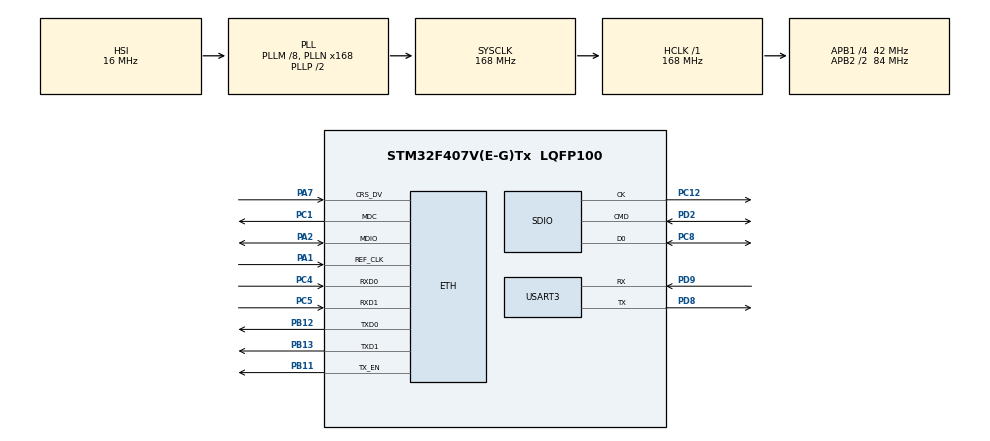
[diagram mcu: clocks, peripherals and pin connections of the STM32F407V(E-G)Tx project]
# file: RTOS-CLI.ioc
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Dma.Request0=SDIO_RX
Dma.Request1=SDIO_TX
Dma.Request2=USART3_RX
Dma.Request3=USART3_TX
Dma.SDIO_RX.0.Direction=DMA_PERIPH_TO_MEMORY
Dma.SDIO_RX.0.FIFOMode=DMA_FIFOMODE_ENABLE
Dma.SDIO_RX.0.FIFOThreshold=DMA_FIFO_THRESHOLD_FULL
Dma.SDIO_RX.0.Instance=DMA2_Stream3
Dma.SDIO_RX.0.MemBurst=DMA_MBURST_INC4
Dma.SDIO_RX.0.MemDataAlignment=DMA_MDATAALIGN_WORD
Dma.SDIO_RX.0.MemInc=DMA_MINC_ENABLE
Dma.SDIO_RX.0.Mode=DMA_PFCTRL
Dma.SDIO_RX.0.PeriphBurst=DMA_PBURST_INC4
Dma.SDIO_RX.0.PeriphDataAlignment=DMA_PDATAALIGN_WORD
Dma.SDIO_RX.0.PeriphInc=DMA_PINC_DISABLE
Dma.SDIO_RX.0.Priority=DMA_PRIORITY_VERY_HIGH
Dma.SDIO_TX.1.Direction=DMA_MEMORY_TO_PERIPH
Dma.SDIO_TX.1.FIFOMode=DMA_FIFOMODE_ENABLE
Dma.SDIO_TX.1.FIFOThreshold=DMA_FIFO_THRESHOLD_FULL
Dma.SDIO_TX.1.Instance=DMA2_Stream6
Dma.SDIO_TX.1.MemBurst=DMA_MBURST_INC4
Dma.SDIO_TX.1.MemDataAlignment=DMA_MDATAALIGN_WORD
Dma.SDIO_TX.1.MemInc=DMA_MINC_ENABLE
Dma.SDIO_TX.1.Mode=DMA_PFCTRL
Dma.SDIO_TX.1.PeriphBurst=DMA_PBURST_INC4
Dma.SDIO_TX.1.PeriphDataAlignment=DMA_PDATAALIGN_WORD
Dma.SDIO_TX.1.PeriphInc=DMA_PINC_DISABLE
Dma.SDIO_TX.1.Priority=DMA_PRIORITY_LOW
Dma.USART3_RX.2.Direction=DMA_PERIPH_TO_MEMORY
Dma.USART3_RX.2.FIFOMode=DMA_FIFOMODE_DISABLE
Dma.USART3_RX.2.Instance=DMA1_Stream1
Dma.USART3_RX.2.MemDataAlignment=DMA_MDATAALIGN_BYTE
Dma.USART3_RX.2.MemInc=DMA_MINC_ENABLE
Dma.USART3_RX.2.Mode=DMA_NORMAL
Dma.USART3_RX.2.PeriphDataAlignment=DMA_PDATAALIGN_BYTE
Dma.USART3_RX.2.PeriphInc=DMA_PINC_DISABLE
Dma.USART3_RX.2.Priority=DMA_PRIORITY_LOW
Dma.USART3_TX.3.Direction=DMA_MEMORY_TO_PERIPH
Dma.USART3_TX.3.FIFOMode=DMA_FIFOMODE_DISABLE
Dma.USART3_TX.3.Instance=DMA1_Stream3
Dma.USART3_TX.3.MemDataAlignment=DMA_MDATAALIGN_BYTE
Dma.USART3_TX.3.MemInc=DMA_MINC_ENABLE
Dma.USART3_TX.3.Mode=DMA_NORMAL
Dma.USART3_TX.3.PeriphDataAlignment=DMA_PDATAALIGN_BYTE
Dma.USART3_TX.3.PeriphInc=DMA_PINC_DISABLE
Dma.USART3_TX.3.Priority=DMA_PRIORITY_LOW
ETH.MediaInterface=HAL_ETH_RMII_MODE
ETH.RxMode=ETH_RXINTERRUPT_MODE
FATFS._USE_LFN=3
FREERTOS.BinarySemaphores01=connectSem,Dynamic,NULL,Depleted;uartConfigSem,Dynamic,NULL,Depleted;fsSem,Dynamic,NULL,Depleted;printSem,Dynamic,NULL,Depleted
FREERTOS.Mutexes01=printMux,Dynamic,NULL,Available
FREERTOS.Queues01=structFSQueue,16,fatfs_struct_t,0,Static,structFSQueuBuffer,structFSQueuControlBlock
FREERTOS.Tasks01=vInitTask,40,512,vStartInitTask,Default,NULL,Static,vInitTaskBuffer,vInitTaskControlBlock;vCmdTask,32,1024,vStartCmdTask,Default,NULL,Static,vCmdTaskBuffer,vCmdTaskControlBlock;vClientTask,24,2048,vStartClientTask,Default,NULL,Static,vClientTaskBuffer,vClientTaskControlBlock;vFatFSTask,24,1024,vStartFatFSTask,Default,NULL,Static,vFatFSTaskBuffer,vFatFSTaskControlBlock
FREERTOS.configGENERATE_RUN_TIME_STATS=1
FREERTOS.configMINIMAL_STACK_SIZE=512
FREERTOS.configTOTAL_HEAP_SIZE=16000
FREERTOS.configUSE_IDLE_HOOK=0
FREERTOS.configUSE_MALLOC_FAILED_HOOK=0
FREERTOS.configUSE_NEWLIB_REENTRANT=1
FREERTOS.configUSE_STATS_FORMATTING_FUNCTIONS=1
FREERTOS.configUSE_TICK_HOOK=0
LWIP.BSP.number=1
LWIP.DEFAULT_THREAD_PRIO=0
LWIP.GATEWAY_ADDRESS=192.168.000.001
LWIP.IP_ADDRESS=192.168.000.025
LWIP.LWIP_DHCP=1
LWIP.LWIP_DNS=1
LWIP.NETMASK_ADDRESS=255.255.255.000
LWIP.TCPIP_THREAD_PRIO=1
LWIP.TCP_WND=5840
LWIP.Version=v2.1.2_Cube
LWIP0.BSP.STBoard=false
LWIP0.BSP.api=BSP_COMPONENT_DRIVER
LWIP0.BSP.component=DP83848
LWIP0.BSP.instance=DP83848
LWIP0.BSP.name=Driver_PHY
LWIP0.BSP.semaphore=S_DP83848
LWIP0.BSP.solution=DP83848
Mcu.Family=STM32F4
Mcu.Name=STM32F407V(E-G)Tx
Mcu.Package=LQFP100
NVIC.DMA1_Stream1_IRQn=true\:5\:0\:false\:false\:true\:true\:false\:true\:true
NVIC.DMA1_Stream3_IRQn=true\:5\:0\:false\:false\:true\:true\:false\:true\:true
NVIC.DMA2_Stream3_IRQn=true\:5\:0\:false\:false\:true\:true\:false\:true\:true
NVIC.DMA2_Stream6_IRQn=true\:5\:0\:false\:false\:true\:true\:false\:true\:true
NVIC.ETH_IRQn=true\:5\:0\:false\:false\:true\:true\:false\:true\:true
NVIC.ETH_WKUP_IRQn=true\:5\:0\:false\:false\:true\:true\:true\:true\:true
NVIC.HASH_RNG_IRQn=true\:5\:0\:false\:false\:true\:true\:true\:true\:true
NVIC.PriorityGroup=NVIC_PRIORITYGROUP_4
NVIC.RCC_IRQn=true\:5\:0\:false\:false\:true\:true\:true\:false\:true
NVIC.SDIO_IRQn=true\:5\:0\:false\:false\:true\:true\:true\:true\:true
NVIC.TIM1_UP_TIM10_IRQn=true\:15\:0\:false\:false\:true\:false\:false\:true\:true
NVIC.TIM5_IRQn=true\:5\:0\:false\:false\:true\:true\:true\:true\:true
NVIC.TimeBase=TIM1_UP_TIM10_IRQn
NVIC.TimeBaseIP=TIM1
NVIC.USART3_IRQn=true\:5\:0\:false\:false\:true\:true\:true\:true\:true
PA1.Mode=RMII
PA1.Signal=ETH_REF_CLK
PA13.Mode=Serial_Wire
PA13.Signal=SYS_JTMS-SWDIO
PA14.Mode=Serial_Wire
PA14.Signal=SYS_JTCK-SWCLK
PA2.Mode=RMII
PA2.Signal=ETH_MDIO
PA7.Mode=RMII
PA7.Signal=ETH_CRS_DV
PB11.Mode=RMII
PB11.Signal=ETH_TX_EN
PB12.Mode=RMII
PB12.Signal=ETH_TXD0
PB13.Mode=RMII
PB13.Signal=ETH_TXD1
PC1.Mode=RMII
PC1.Signal=ETH_MDC
PC12.Mode=SD_1_bit
PC12.Signal=SDIO_CK
PC4.Mode=RMII
PC4.Signal=ETH_RXD0
PC5.Mode=RMII
PC5.Signal=ETH_RXD1
PC8.Mode=SD_1_bit
PC8.Signal=SDIO_D0
PD2.Mode=SD_1_bit
PD2.Signal=SDIO_CMD
PD8.Mode=Asynchronous
PD8.Signal=USART3_TX
PD9.Mode=Asynchronous
PD9.Signal=USART3_RX
PH0-OSC_IN.Mode=HSE-External-Oscillator
PH0-OSC_IN.Signal=RCC_OSC_IN
PH1-OSC_OUT.Mode=HSE-External-Oscillator
PH1-OSC_OUT.Signal=RCC_OSC_OUT
ProjectManager.HeapSize=0x2000
ProjectManager.StackSize=0x1000
ProjectManager.TargetToolchain=STM32CubeIDE
RCC.48MHZClocksFreq_Value=48000000
RCC.AHBFreq_Value=168000000
RCC.APB1CLKDivider=RCC_HCLK_DIV4
RCC.APB1Freq_Value=42000000
RCC.APB1TimFreq_Value=84000000
RCC.APB2CLKDivider=RCC_HCLK_DIV2
RCC.APB2Freq_Value=84000000
RCC.APB2TimFreq_Value=168000000
RCC.CortexFreq_Value=168000000
RCC.HCLKFreq_Value=168000000
RCC.HSE_VALUE=25000000
RCC.HSI_VALUE=16000000
RCC.LSE_VALUE=32768
RCC.PLLM=8
RCC.PLLN=168
RCC.PLLQ=7
RCC.SYSCLKFreq_VALUE=168000000
RCC.SYSCLKSource=RCC_SYSCLKSOURCE_PLLCLK
RCC.VCOOutputFreq_Value=336000000
TIM5.Prescaler=599
USART3.Parity=PARITY_NONE
USART3.VirtualMode=VM_ASYNC
VP_FATFS_VS_SDIO.Mode=SDIO
VP_FREERTOS_VS_CMSIS_V2.Mode=CMSIS_V2
VP_LWIP_VS_Enabled.Mode=Enabled
VP_RNG_VS_RNG.Mode=RNG_Activate
VP_SYS_VS_tim1.Mode=TIM1
VP_TIM5_VS_ClockSourceINT.Mode=Internal
VP_wolfSSL.I-CUBE-wolfSSH_VS_wolfSSHJjwolfSSH_1.4.17_1.4.17.Mode=wolfSSHJjwolfSSH
VP_wolfSSL.I-CUBE-wolfSSL_VS_wolfSSLJjwolfSSL_5.7.4_5.7.4.Mode=wolfSSLJjwolfSSL
board=custom
wolfSSL.I-CUBE-wolfSSH.1.4.17.WOLFSSH_CONF_IO=2
wolfSSL.I-CUBE-wolfSSH.1.4.17.wolfSSHCcwolfSSHJjwolfSSHJjCore=true
wolfSSL.I-CUBE-wolfSSH.1.4.17.wolfSSHCcwolfSSHJjwolfSSHJjTest=true
wolfSSL.I-CUBE-wolfSSL.5.7.4.WOLF_CONF_AESCBC=1
wolfSSL.I-CUBE-wolfSSL.5.7.4.WOLF_CONF_BASE64_ENCODE=1
wolfSSL.I-CUBE-wolfSSL.5.7.4.WOLF_CONF_DEBUG=1
wolfSSL.I-CUBE-wolfSSL.5.7.4.WOLF_CONF_IO=2
wolfSSL.I-CUBE-wolfSSL.5.7.4.WOLF_CONF_KEEP_PEER_CERT=1
wolfSSL.I-CUBE-wolfSSL.5.7.4.WOLF_CONF_OPENSSL_EXTRA=0
wolfSSL.I-CUBE-wolfSSL.5.7.4.WOLF_CONF_PSK=1
wolfSSL.I-CUBE-wolfSSL.5.7.4.WOLF_CONF_RESUMPTION=1
wolfSSL.I-CUBE-wolfSSL.5.7.4.WOLF_CONF_RTOS=2
wolfSSL.I-CUBE-wolfSSL.5.7.4.WOLF_CONF_SHA2_384=1
wolfSSL.I-CUBE-wolfSSL.5.7.4.WOLF_CONF_TEST=0
wolfSSL.I-CUBE-wolfSSL.5.7.4.WOLF_CONF_TLS13=0
wolfSSL.I-CUBE-wolfSSL.5.7.4.wolfSSLCcwolfSSLJjwolfCryptJjCore=true
wolfSSL.I-CUBE-wolfSSL.5.7.4.wolfSSLCcwolfSSLJjwolfCryptJjTest=true
wolfSSL.I-CUBE-wolfSSL.5.7.4.wolfSSLCcwolfSSLJjwolfSSLJjCore=true

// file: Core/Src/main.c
/* USER CODE BEGIN Header */
/**
  ******************************************************************************
  * @file           : main.c
  * @brief          : Main program body
  ******************************************************************************
  * @attention
  *
  * Copyright (c) 2025 STMicroelectronics.
  * All rights reserved.
  *
  * This software is licensed under terms that can be found in the LICENSE file
  * in the root directory of this software component.
  * If no LICENSE file comes with this software, it is provided AS-IS.
  *
  ******************************************************************************
  */
/* USER CODE END Header */
#include "main.h"
#include "cmsis_os.h"
#include "dma.h"
#include "fatfs.h"
#include "lwip.h"
#include "rng.h"
#include "sdio.h"
#include "tim.h"
#include "usart.h"
#include "gpio.h"

/* USER CODE BEGIN Includes */
#include "socket.h"
#include "semphr.h"
//#include "printf_uart.h"
/* USER CODE END Includes */

void SystemClock_Config(void);
void MX_FREERTOS_Init(void);

int main(void)
{

  /* MCU Configuration--------------------------------------------------------*/

  /* Reset of all peripherals, Initializes the Flash interface and the Systick. */
  HAL_Init();

  /* Configure the system clock */
  SystemClock_Config();

  /* Initialize all configured peripherals */
  MX_GPIO_Init();
  MX_DMA_Init();
  MX_TIM5_Init();
  MX_RNG_Init();
  MX_USART3_UART_Init();
  MX_SDIO_SD_Init();
  MX_FATFS_Init();
  /* USER CODE BEGIN 2 */
// HAL_UART_Transmit(&huart3, (uint8_t *)"Start\n\r", sizeof("Start\n\r"), 0xffff);
  HAL_UART_Receive_IT(&huart3, pcRxedChar, 1);
  /* USER CODE END 2 */

  /* Init scheduler */
  osKernelInitialize();

  /* Call init function for freertos objects (in cmsis_os2.c) */
  MX_FREERTOS_Init();

  /* Start scheduler */
  osKernelStart();

  /* We should never get here as control is now taken by the scheduler */

  /* Infinite loop */
  while (1)
  {

  }
}

void SystemClock_Config(void)
{
  RCC_OscInitTypeDef RCC_OscInitStruct = {0};
  RCC_ClkInitTypeDef RCC_ClkInitStruct = {0};

  /** Configure the main internal regulator output voltage
  */
  __HAL_RCC_PWR_CLK_ENABLE();
  __HAL_PWR_VOLTAGESCALING_CONFIG(PWR_REGULATOR_VOLTAGE_SCALE1);

  /** Initializes the RCC Oscillators according to the specified parameters
  * in the RCC_OscInitTypeDef structure.
  */
  RCC_OscInitStruct.OscillatorType = RCC_OSCILLATORTYPE_HSI;
  RCC_OscInitStruct.HSIState = RCC_HSI_ON;
  RCC_OscInitStruct.HSICalibrationValue = RCC_HSICALIBRATION_DEFAULT;
  RCC_OscInitStruct.PLL.PLLState = RCC_PLL_ON;
  RCC_OscInitStruct.PLL.PLLSource = RCC_PLLSOURCE_HSI;
  RCC_OscInitStruct.PLL.PLLM = 8;
  RCC_OscInitStruct.PLL.PLLN = 168;
  RCC_OscInitStruct.PLL.PLLP = RCC_PLLP_DIV2;
  RCC_OscInitStruct.PLL.PLLQ = 7;
  if (HAL_RCC_OscConfig(&RCC_OscInitStruct) != HAL_OK)
  {
    Error_Handler();
  }

  /** Initializes the CPU, AHB and APB buses clocks
  */
  RCC_ClkInitStruct.ClockType = RCC_CLOCKTYPE_HCLK|RCC_CLOCKTYPE_SYSCLK
                              |RCC_CLOCKTYPE_PCLK1|RCC_CLOCKTYPE_PCLK2;
  RCC_ClkInitStruct.SYSCLKSource = RCC_SYSCLKSOURCE_PLLCLK;
  RCC_ClkInitStruct.AHBCLKDivider = RCC_SYSCLK_DIV1;
  RCC_ClkInitStruct.APB1CLKDivider = RCC_HCLK_DIV4;
  RCC_ClkInitStruct.APB2CLKDivider = RCC_HCLK_DIV2;

  if (HAL_RCC_ClockConfig(&RCC_ClkInitStruct, FLASH_LATENCY_5) != HAL_OK)
  {
    Error_Handler();
  }
}

void HAL_TIM_PeriodElapsedCallback(TIM_HandleTypeDef *htim)
{
  if (htim->Instance == TIM1) {
    HAL_IncTick();
  }
}

void Error_Handler(void)
{
  __disable_irq();
  while (1)
  {
  }
}

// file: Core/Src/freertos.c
/* USER CODE BEGIN Header */
/**
  ******************************************************************************
  * File Name          : freertos.c
  * Description        : Code for freertos applications
  ******************************************************************************
  * @attention
  *
  * Copyright (c) 2025 STMicroelectronics.
  * All rights reserved.
  *
  * This software is licensed under terms that can be found in the LICENSE file
  * in the root directory of this software component.
  * If no LICENSE file comes with this software, it is provided AS-IS.
  *
  ******************************************************************************
  */
/* USER CODE END Header */

#include "FreeRTOS.h"
#include "task.h"
#include "main.h"
#include "cmsis_os.h"

/* USER CODE BEGIN Includes */
#include "lwip.h"
#include "app_cli.h"
#include "FreeRTOS_CLI.h"
#include "socket.h"
#include "semphr.h"
#include "ssl_client.h"
#include "fatfs.h"
#include "printf_uart.h"
#include "string.h"
/* USER CODE END Includes */

typedef StaticTask_t osStaticThreadDef_t;
typedef StaticQueue_t osStaticMessageQDef_t;

/* USER CODE BEGIN Variables */
extern struct netif gnetif;
extern uint8_t cRxedChar;
extern char cOutputBuffer[configCOMMAND_INT_MAX_OUTPUT_SIZE], pcInputString[MAX_INPUT_LENGTH];

/* USER CODE END Variables */
/* Definitions for vInitTask */
osThreadId_t vInitTaskHandle;
uint32_t vInitTaskBuffer[ 512 ];
osStaticThreadDef_t vInitTaskControlBlock;
const osThreadAttr_t vInitTask_attributes = {
  .name = "vInitTask",
  .cb_mem = &vInitTaskControlBlock,
  .cb_size = sizeof(vInitTaskControlBlock),
  .stack_mem = &vInitTaskBuffer[0],
  .stack_size = sizeof(vInitTaskBuffer),
  .priority = (osPriority_t) osPriorityHigh,
};
/* Definitions for vCmdTask */
osThreadId_t vCmdTaskHandle;
uint32_t vCmdTaskBuffer[ 1024 ];
osStaticThreadDef_t vCmdTaskControlBlock;
const osThreadAttr_t vCmdTask_attributes = {
  .name = "vCmdTask",
  .cb_mem = &vCmdTaskControlBlock,
  .cb_size = sizeof(vCmdTaskControlBlock),
  .stack_mem = &vCmdTaskBuffer[0],
  .stack_size = sizeof(vCmdTaskBuffer),
  .priority = (osPriority_t) osPriorityAboveNormal,
};
/* Definitions for vClientTask */
osThreadId_t vClientTaskHandle;
uint32_t vClientTaskBuffer[ 2048 ];
osStaticThreadDef_t vClientTaskControlBlock;
const osThreadAttr_t vClientTask_attributes = {
  .name = "vClientTask",
  .cb_mem = &vClientTaskControlBlock,
  .cb_size = sizeof(vClientTaskControlBlock),
  .stack_mem = &vClientTaskBuffer[0],
  .stack_size = sizeof(vClientTaskBuffer),
  .priority = (osPriority_t) osPriorityNormal,
};
/* Definitions for vFatFSTask */
osThreadId_t vFatFSTaskHandle;
uint32_t vFatFSTaskBuffer[ 1024 ];
osStaticThreadDef_t vFatFSTaskControlBlock;
const osThreadAttr_t vFatFSTask_attributes = {
  .name = "vFatFSTask",
  .cb_mem = &vFatFSTaskControlBlock,
  .cb_size = sizeof(vFatFSTaskControlBlock),
  .stack_mem = &vFatFSTaskBuffer[0],
  .stack_size = sizeof(vFatFSTaskBuffer),
  .priority = (osPriority_t) osPriorityNormal,
};
/* Definitions for structFSQueue */
osMessageQueueId_t structFSQueueHandle;
uint8_t structFSQueuBuffer[ 16 * sizeof( fatfs_struct_t ) ];
osStaticMessageQDef_t structFSQueuControlBlock;
const osMessageQueueAttr_t structFSQueue_attributes = {
  .name = "structFSQueue",
  .cb_mem = &structFSQueuControlBlock,
  .cb_size = sizeof(structFSQueuControlBlock),
  .mq_mem = &structFSQueuBuffer,
  .mq_size = sizeof(structFSQueuBuffer)
};
/* Definitions for printMux */
osMutexId_t printMuxHandle;
const osMutexAttr_t printMux_attributes = {
  .name = "printMux"
};
/* Definitions for connectSem */
osSemaphoreId_t connectSemHandle;
const osSemaphoreAttr_t connectSem_attributes = {
  .name = "connectSem"
};
/* Definitions for uartConfigSem */
osSemaphoreId_t uartConfigSemHandle;
const osSemaphoreAttr_t uartConfigSem_attributes = {
  .name = "uartConfigSem"
};
/* Definitions for fsSem */
osSemaphoreId_t fsSemHandle;
const osSemaphoreAttr_t fsSem_attributes = {
  .name = "fsSem"
};
/* Definitions for printSem */
osSemaphoreId_t printSemHandle;
const osSemaphoreAttr_t printSem_attributes = {
  .name = "printSem"
};

void vStartInitTask(void *argument);
void vStartCmdTask(void *argument);
void vStartClientTask(void *argument);
void vStartFatFSTask(void *argument);

extern void MX_LWIP_Init(void);
void MX_FREERTOS_Init(void); /* (MISRA C 2004 rule 8.1) */

/* Hook prototypes */
void configureTimerForRunTimeStats(void);
unsigned long getRunTimeCounterValue(void);

/* USER CODE BEGIN 1 */
/* Functions needed when configGENERATE_RUN_TIME_STATS is on */
__weak void configureTimerForRunTimeStats(void)
{

}

__weak unsigned long getRunTimeCounterValue(void)
{
return 0;
}
/* USER CODE END 1 */

void MX_FREERTOS_Init(void) {
  /* Create the mutex(es) */
  /* creation of printMux */
  printMuxHandle = osMutexNew(&printMux_attributes);

  /* Create the semaphores(s) */
  /* creation of connectSem */
  connectSemHandle = osSemaphoreNew(1, 0, &connectSem_attributes);

  /* creation of uartConfigSem */
  uartConfigSemHandle = osSemaphoreNew(1, 0, &uartConfigSem_attributes);

  /* creation of fsSem */
  fsSemHandle = osSemaphoreNew(1, 0, &fsSem_attributes);

  /* creation of printSem */
  printSemHandle = osSemaphoreNew(1, 0, &printSem_attributes);

  /* Create the queue(s) */
  /* creation of structFSQueue */
  structFSQueueHandle = osMessageQueueNew (16, sizeof(fatfs_struct_t), &structFSQueue_attributes);

  /* Create the thread(s) */
  /* creation of vInitTask */
  vInitTaskHandle = osThreadNew(vStartInitTask, NULL, &vInitTask_attributes);

  /* creation of vCmdTask */
  vCmdTaskHandle = osThreadNew(vStartCmdTask, NULL, &vCmdTask_attributes);

  /* creation of vClientTask */
  vClientTaskHandle = osThreadNew(vStartClientTask, NULL, &vClientTask_attributes);

  /* creation of vFatFSTask */
  vFatFSTaskHandle = osThreadNew(vStartFatFSTask, NULL, &vFatFSTask_attributes);

  /* USER CODE BEGIN RTOS_THREADS */
//  vTaskSuspend((TaskHandle_t)vClientTaskHandle);
//  vTaskSuspend((TaskHandle_t)vCmdTaskHandle);
  /* USER CODE END RTOS_THREADS */

}

void vStartInitTask(void *argument)
{
  /* init code for LWIP */
  MX_LWIP_Init();
  /* USER CODE BEGIN vStartInitTask */
//  portTICK_TYPE_ENTER_CRITICAL();
  HAL_Delay(15000);

  /* Infinite loop */
  for(;;)
  {
	  while (gnetif.ip_addr.addr == 0)
	  {
		  HAL_UART_Transmit(&huart3, "IP address assigned\r\n", sizeof"IP address assined\r\n", 0xffff);
		  vTaskSuspend(NULL);

	  }
//	  portTICK_TYPE_EXIT_CRITICAL();
    osDelay(1);
  }
  /* USER CODE END vStartInitTask */
}

void vStartCmdTask(void *argument)
{
  /* USER CODE BEGIN vStartCmdTask */
    uint8_t cInputIndex = 0; // simply used to keep track of the index of the input string
    vRegisterCLICommands();
    cliWrite("Start cli\r\n");
    cliWrite(cli_prompt);

    for (;;)
    {
  	    xSemaphoreTake(uartConfigSemHandle, portMAX_DELAY);
        //echo recevied char
//        cRxedChar = receivedValue & 0xFF;

        cliWrite((char *)&cRxedChar);
        if (cRxedChar == '\r' || cRxedChar == '\n')
        {
            // user pressed enter, process the command
            handleNewline(pcInputString, cOutputBuffer, &cInputIndex);
        }
        else
        {
            // user pressed a character add it to the input string
            handleCharacterInput(&cInputIndex, pcInputString);
        }
        osDelay(100);
    }
  /* USER CODE END vStartCmdTask */
}

void vStartClientTask(void *argument)
{
  /* USER CODE BEGIN vStartClientTask */
	  struct sockaddr_in remout_host;
	  int s;
	  uint32_t ret_con;
		notify_struct_t ntfy_strct;
		notify_struct_t *p_ntfy_strct = &ntfy_strct;
  /* Infinite loop */
  for(;;)
  {
	  xTaskNotifyWait(0, 0, (uint32_t)&p_ntfy_strct, portMAX_DELAY);
 	  s = lwip_socket(AF_INET, SOCK_STREAM, IPPROTO_TCP);
 	  remout_host.sin_family = AF_INET;
 	  remout_host.sin_port = htons(remout_port);//remout_port
 	  ip4addr_aton((char*)remout_ip,(ip4_addr_t*)&remout_host.sin_addr); //"192.168.0.10" 13.215.82.137
 	  p_ntfy_strct->ret = ssl_client(&s, &remout_host, p_ntfy_strct);
 	  xTaskNotify(cliTaskHandle[0], (uint32_t)p_ntfy_strct, eSetValueWithOverwrite);
 		taskYIELD();
    osDelay(10);
  }
  /* USER CODE END vStartClientTask */
}

void vStartFatFSTask(void *argument)
{
  /* USER CODE BEGIN vStartFatFSTask */
	uint32_t ret_fs;
	char name[25];
	uint32_t read_byte;//, name;
	notify_struct_t ntfy_strct;
	notify_struct_t *p_ntfy_strct = &ntfy_strct;
  /* Infinite loop */
  for(;;)
  {
//	  xSemaphoreTake(fsSemHandle, portMAX_DELAY);
//	  switch ( ) {
//		case 1 ... 2:
	  xTaskNotifyWait(0, 0, (uint32_t)&p_ntfy_strct, portMAX_DELAY);
	  ret_fs = mount_fs(&fs, 1);
			if (ret_fs != 0)
			{
				cliWrite("Failed mount\r\n");
			}
			else
			{
				cliWrite("Success mount\r\n");
			}
//			osDelay(3000);
//			for (int i = 0;i < 100;i++)
//			{
//				ret_fs = write_fs("WolfFile.txt", "Work on Wolf lib5\r\n");
//
//			}
//
//			if (ret_fs != 0)
//			{
//				cliWrite("Failed writed\r\n");
//			}
//			else
//			{
//				cliWrite("Success writed\r\n");
//			}

			ret_fs = read_fs(p_ntfy_strct->val, buf, MAX_FILE_BUF_LENGTH, &read_byte);
			if (ret_fs != 0)
			{
				cliWrite("Failed read file\r\n");
			}
			else
			{
				cliWrite("Success read file\r\n");
			}
//
//			cliWrite("\r\n");
//			cliWrite((char *)buf);
//			cliWrite("\r\n");
//			vTaskPrioritySet(vFatFSTaskHandle, osPriorityNormal);
//			for (int i = 5; i >= 0; --i) {
//				if (cliTaskHandle[i] != NULL)
//				{
//
//					xTaskNotify(cliTaskHandle[0], read_byte, eSetValueWithOverwrite);
//					cliTaskHandle[i] = NULL;
//					taskYIELD();
//					break;
//				}
//
//			}
			p_ntfy_strct->num = read_byte;
			p_ntfy_strct->ret = 0;

			xTaskNotify(cliTaskHandle[0], (uint32_t)p_ntfy_strct, eSetValueWithOverwrite);
			taskYIELD();
//			xTaskNotifyGive(cliTaskHandle[0]);
//			taskYIELD();
//			break;
//		case 3:
//			if (freq != freqRef)
//			{
//				statusClk = SysClockPLLConfig();
//			}
//			res_fs = write_fs(&text[0], &text[1]);
//			break;
//		default:
//			break;
//	}
    osDelay(500);
  }
  /* USER CODE END vStartFatFSTask */
}
